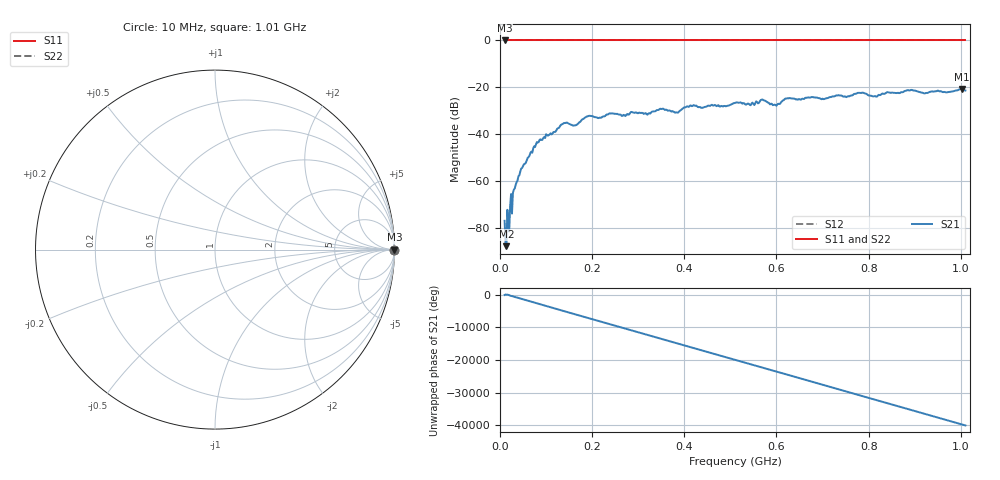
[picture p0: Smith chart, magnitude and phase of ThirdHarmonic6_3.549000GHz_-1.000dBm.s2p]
! 8/17/2025 11:42:37 AM
! C:\ANRITSUVNA\TEMP\TEMP.S2P
! CHANNEL.1
! TR.MEASUREMENT
! RAW.DATA
! RF.CORRECTION.OFF
! AVERAGING.OFF
! IF.BANDWIDTH: 5KHZ
! SWEEPTYPE:  FREQ.SWEEP(Linear)
! Reference Plane Port Info
! PORT:  PORT1  PORT2
! DISTANCE:  0  m  0  m
! TIME:  0  s  0  s
! PHASE.OFFSET:  0  deg.  0  deg.
! LOSS:  0  dB  0  dB
! REF.LOSS:  0  dB  0  dB
! REF.FREQ:  0  Hz  0  Hz
! Power Info
! POWER:  -20  dBm  -20  dBm
! EFF.POWER:  -20  dBm  -20  dBm
! SOURCE.ATTEN:  0  dB  0  dB
! TEST.ATTEN:  0  dB  0  dB
# GHZ S RI R 50.0
! FREQ.GHZ  S11RE  S11IM  S21RE  S21IM  S12RE  S12IM  S22RE  S22IM
!; PortSelection: Port_12
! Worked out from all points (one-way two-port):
!   501 points, 10 MHz to 1.01 GHz, reference 50 ohm
!   highest |S21| = -20.65 dB at 1.002 GHz (marker M1); lowest = -87.6 dB at 14 MHz (marker M2)
!   lowest |S11| = 0.0 dB at 10 MHz (marker M3)
!   |S11| at or under -10 dB: nowhere
!   |S22| runs from 0.0 to 0.0 dB; largest |S21 - S12| = 1.1
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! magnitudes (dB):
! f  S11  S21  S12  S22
! 10 MHz  0.0  -76.8  0.0  0.0
! 14 MHz  0.0  -87.6  0.0  0.0
! 16 MHz  0.0  -72.1  0.0  0.0
! 32 MHz  0.0  -63.0  0.0  0.0
! 44 MHz  0.0  -55.9  0.0  0.0
! 76 MHz  0.0  -45.4  0.0  0.0
! 136 MHz  0.0  -35.6  0.0  0.0
! 162 MHz  0.0  -36.2  0.0  0.0
! 178 MHz  0.0  -33.7  0.0  0.0
! 344 MHz  0.0  -29.6  0.0  0.0
! 384 MHz  0.0  -30.7  0.0  0.0
! 416 MHz  0.0  -28.0  0.0  0.0
! 510 MHz  0.0  -26.6  0.0  0.0
! 570 MHz  0.0  -25.2  0.0  0.0
! 596 MHz  0.0  -27.3  0.0  0.0
! 622 MHz  0.0  -24.7  0.0  0.0
! 678 MHz  0.0  -24.1  0.0  0.0
! 784 MHz  0.0  -22.4  0.0  0.0
! 814 MHz  0.0  -23.7  0.0  0.0
! 844 MHz  0.0  -22.1  0.0  0.0
! 1.002 GHz  0.0  -20.7  0.0  0.0
! 1.01 GHz  0.0  -21.3  0.0  0.0
